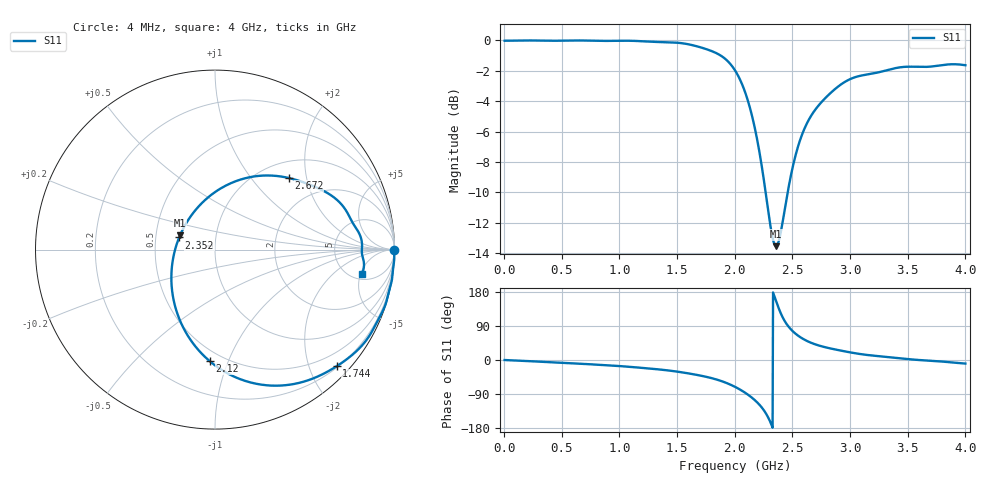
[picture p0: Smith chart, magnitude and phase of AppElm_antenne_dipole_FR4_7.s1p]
! TOUCHSTONE file generated by CST MICROWAVE STUDIO
! Date and time: Thu May 12 15:49:38 2022
! Project name: AppElm_antenne_dipole_FR4.cst
! Parameters = {L=40.74; e=0.035; f=2.45e+09; h=1.6; i=0.8; l1=4; lambda=122.449; ls=30; wl=1.7; ws=80}
! Header version: 2018
! Port assignment regex: !\s*Touchstone port\s*([0-9]+)\s*=\s*(CST MWS port|CST DS port)\s*([0-9]+|Zmin|Zmax)\s*\(\"(.*)\"\)(\s*mode\s*([0-9]+))?.*
! Touchstone port assignment:
! Touchstone port 1 = CST MWS port 1 ("")
# GHz S MA R 50
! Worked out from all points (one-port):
!   1000 points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, 4 MHz to 4 GHz, reference 50 ohm
!   lowest |S11| = -13.5 dB at 2.356 GHz (marker M1), VSWR 1.53, Z = 33.3 + j5.57 ohm
!   |S11| at or under -10 dB: 2.268 GHz to 2.459 GHz (191.2 MHz wide, 8.09 % of centre)
!   S11 on the Smith chart (normalised r, x): 4 MHz: open; 1.744 GHz: 0.23, -2.47; 2.12 GHz: 0.42, -0.86; 2.352 GHz: 0.66, +0.09; 2.672 GHz: 1.33, +1.58; 4 GHz: 6.05, -5.26
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0.004  0.9979 -0.1
0.504  0.9983 -7.2
1.004  0.9977 -16.1
1.304  0.9893 -23.7
1.504  0.9828 -30.8
1.624  0.9667 -36.7
1.744  0.9388 -43.8
1.88  0.8908 -55.2
1.948  0.8479 -63.1
2.004  0.795 -71.1
2.064  0.7165 -81.3
2.12  0.6221 -92.7
2.184  0.4935 -108.8
2.24  0.373 -127.5
2.276  0.3002 -144.0
2.316  0.2367 -169.2
2.352  0.2108 161.2
2.356  0.2103 157.7
2.388  0.2234 131.2
2.432  0.2759 103.3
2.504  0.3854 75.6
2.576  0.4814 58.7
2.672  0.5727 44.2
2.82  0.6657 31.1
3.004  0.7471 19.9
3.14  0.7718 13.6
3.504  0.8196 2.4
4  0.829 -9.4
